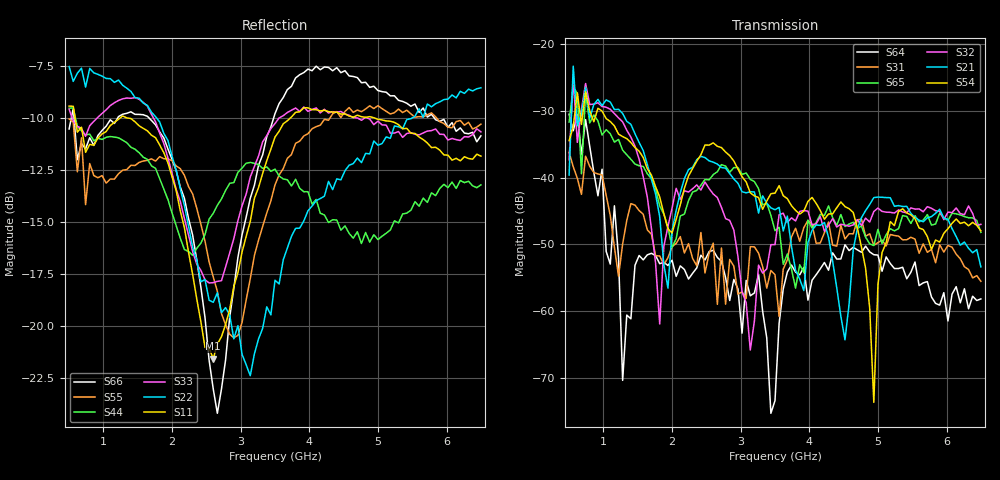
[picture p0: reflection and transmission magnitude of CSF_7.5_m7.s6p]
!Keysight Technologies,M9804A,MY58100912,A.14.10.03
!Date: Thursday, April 27, 2023 10:28:33
!Correction: S11(C  6-Port  )
!S12(C  6-Port  )
!S13(C  6-Port  )
!S14(C  6-Port  )
!S15(C  6-Port  )
!S16(C  6-Port  )
!S21(C  6-Port  )
!S22(C  6-Port  )
!S23(C  6-Port  )
!S24(C  6-Port  )
!S25(C  6-Port  )
!S26(C  6-Port  )
!S31(C  6-Port  )
!S32(C  6-Port  )
!S33(C  6-Port  )
!S34(C  6-Port  )
!S35(C  6-Port  )
!S36(C  6-Port  )
!S41(C  6-Port  )
!S42(C  6-Port  )
!S43(C  6-Port  )
!S44(C  6-Port  )
!S45(C  6-Port  )
!S46(C  6-Port  )
!S51(C  6-Port  )
!S52(C  6-Port  )
!S53(C  6-Port  )
!S54(C  6-Port  )
!S55(C  6-Port  )
!S56(C  6-Port  )
!S61(C  6-Port  )
!S62(C  6-Port  )
!S63(C  6-Port  )
!S64(C  6-Port  )
!S65(C  6-Port  )
!S66(C  6-Port  )
!S6P File: Measurement: :
# Hz S  RI  R 50
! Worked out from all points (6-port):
!   101 points, 500 MHz to 6.5 GHz, reference 50 ohm
!   strongest paths, dB at 500 MHz, 2 GHz, 3.5 GHz, 5 GHz, 6.5 GHz:
!     S54: -34.4, -48.3, -42.3, -56.0, -48.0
!     S21: -39.6, -47.9, -44.8, -42.9, -53.4
!     S32: -37.3, -44.5, -50.0, -44.6, -47.0
!     S65: -31.6, -50.4, -47.9, -47.7, -48.2
!     S31: -36.2, -50.4, -54.5, -49.7, -55.5
!     S64: -30.5, -52.4, -73.4, -51.6, -58.2
!   lowest |S11| = -21.5 dB at 2.6 GHz (marker M1), VSWR 1.18, Z = 42.5 + j2.06 ohm
!   |S11| at or under -10 dB: 588.1 MHz to 1.236 GHz (647.5 MHz wide, 71 % of centre); 1.391 GHz to 3.717 GHz (2.326 GHz wide, 91.1 % of centre); 4.967 GHz to end of sweep
